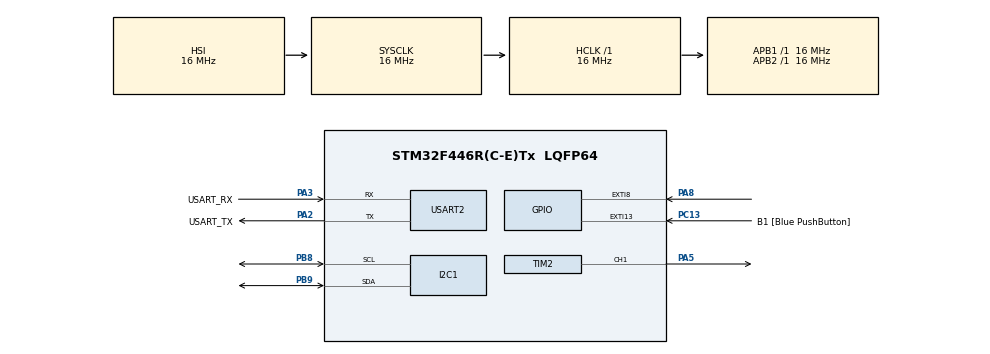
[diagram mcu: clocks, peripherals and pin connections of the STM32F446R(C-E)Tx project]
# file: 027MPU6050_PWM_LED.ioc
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FREERTOS.Tasks01=defaultTask,24,128,StartDefaultTask,Default,NULL,Dynamic,NULL,NULL;SensorReadTask_,24,512,sensor_read_task,Default,NULL,Dynamic,NULL,NULL;PWMControlTask_,40,256,pwm_control_task,Default,NULL,Dynamic,NULL,NULL
FREERTOS.configUSE_NEWLIB_REENTRANT=1
Mcu.Family=STM32F4
Mcu.Name=STM32F446R(C-E)Tx
Mcu.Package=LQFP64
NVIC.EXTI15_10_IRQn=true\:5\:0\:false\:false\:true\:true\:true\:true\:true
NVIC.EXTI9_5_IRQn=true\:0\:0\:false\:false\:true\:false\:true\:true\:true
NVIC.PriorityGroup=NVIC_PRIORITYGROUP_4
NVIC.TIM2_IRQn=true\:5\:0\:false\:false\:true\:true\:true\:true\:true
NVIC.TIM6_DAC_IRQn=true\:15\:0\:false\:false\:true\:false\:false\:true\:true
NVIC.TimeBase=TIM6_DAC_IRQn
NVIC.TimeBaseIP=TIM6
PA13.GPIO_Label=TMS
PA13.Mode=Serial_Wire
PA13.Signal=SYS_JTMS-SWDIO
PA14.GPIO_Label=TCK
PA14.Mode=Serial_Wire
PA14.Signal=SYS_JTCK-SWCLK
PA2.GPIO_Label=USART_TX
PA2.Mode=Asynchronous
PA2.Signal=USART2_TX
PA3.GPIO_Label=USART_RX
PA3.Mode=Asynchronous
PA3.Signal=USART2_RX
PA5.Signal=S_TIM2_CH1_ETR
PA8.Signal=GPXTI8
PB3.GPIO_Label=SWO
PB3.Signal=SYS_JTDO-SWO
PB8.Mode=I2C
PB8.Signal=I2C1_SCL
PB9.Mode=I2C
PB9.Signal=I2C1_SDA
PC13.GPIO_Label=B1 [Blue PushButton]
PC13.GPIO_ModeDefaultEXTI=GPIO_MODE_IT_FALLING
PC13.Signal=GPXTI13
PC14-OSC32_IN.Mode=LSE-External-Oscillator
PC14-OSC32_IN.Signal=RCC_OSC32_IN
PC15-OSC32_OUT.Mode=LSE-External-Oscillator
PC15-OSC32_OUT.Signal=RCC_OSC32_OUT
PH0-OSC_IN.Mode=HSE-External-Oscillator
PH0-OSC_IN.Signal=RCC_OSC_IN
PH1-OSC_OUT.Mode=HSE-External-Oscillator
PH1-OSC_OUT.Signal=RCC_OSC_OUT
ProjectManager.HeapSize=0x200
ProjectManager.StackSize=0x400
ProjectManager.TargetToolchain=STM32CubeIDE
RCC.48MHZClocksFreq_Value=84000000
RCC.AHBFreq_Value=16000000
RCC.APB1Freq_Value=16000000
RCC.APB1TimFreq_Value=16000000
RCC.APB2Freq_Value=16000000
RCC.APB2TimFreq_Value=16000000
RCC.CortexFreq_Value=16000000
RCC.FLatency-AdvancedSettings=FLASH_LATENCY_0
RCC.HCLKFreq_Value=16000000
RCC.HSE_VALUE=8000000
RCC.HSI_VALUE=16000000
RCC.PLLN=336
RCC.PLLP=RCC_PLLP_DIV4
RCC.SYSCLKFreq_VALUE=16000000
RCC.USBFreq_Value=168000000
RCC.VCOOutputFreq_Value=336000000
SH.S_TIM2_CH1_ETR.0=TIM2_CH1,PWM Generation1 CH1
TIM2.Channel-PWM\ Generation1\ CH1=TIM_CHANNEL_1
TIM2.Period=79
TIM2.Prescaler=199
TIM2.Pulse-PWM\ Generation1\ CH1=32
TIM2.TIM_MasterOutputTrigger=TIM_TRGO_UPDATE
USART2.VirtualMode=VM_ASYNC
VP_FREERTOS_VS_CMSIS_V2.Mode=CMSIS_V2
VP_SYS_VS_tim6.Mode=TIM6
VP_TIM2_VS_ClockSourceINT.Mode=Internal
board=NUCLEO-F446RE

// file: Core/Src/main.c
/* USER CODE BEGIN Header */
/**
  ******************************************************************************
  * @file           : main.c
  * @brief          : Main program body
  ******************************************************************************
  * @attention
  *
  * Copyright (c) 2026 STMicroelectronics.
  * All rights reserved.
  *
  * This software is licensed under terms that can be found in the LICENSE file
  * in the root directory of this software component.
  * If no LICENSE file comes with this software, it is provided AS-IS.
  *
  ******************************************************************************
  */
/* USER CODE END Header */
#include "main.h"
#include "cmsis_os.h"

/* USER CODE BEGIN Includes */
#include "mpu6050.h"
#include <math.h>
#include "kalman_filter.h"
#include "main.h"
#include "debug.h"
#include "core_cm4.h"
/* USER CODE END Includes */

I2C_HandleTypeDef hi2c1;

TIM_HandleTypeDef htim2;

UART_HandleTypeDef huart2;

/* Definitions for defaultTask */
osThreadId_t defaultTaskHandle;
const osThreadAttr_t defaultTask_attributes = {
  .name = "defaultTask",
  .stack_size = 128 * 4,
  .priority = (osPriority_t) osPriorityNormal,
};
/* Definitions for SensorReadTask_ */
osThreadId_t SensorReadTask_Handle;
const osThreadAttr_t SensorReadTask__attributes = {
  .name = "SensorReadTask_",
  .stack_size = 512 * 4,
  .priority = (osPriority_t) osPriorityNormal,
};
/* Definitions for PWMControlTask_ */
osThreadId_t PWMControlTask_Handle;
const osThreadAttr_t PWMControlTask__attributes = {
  .name = "PWMControlTask_",
  .stack_size = 256 * 4,
  .priority = (osPriority_t) osPriorityHigh,
};
/* USER CODE BEGIN PV */
uint32_t g_counter = 0;
volatile uint32_t g_channel_2_state = 8000;
volatile uint32_t g_channel_3_state = 4000;

mpu6050_accel_data_t g_accel_data;
const mpu6050_accel_data_t error_offset =  {
		.x = 896,
		.y = -140,
		.z = 156
};

float roll_angle;
int16_t kalman_roll_angle;
int16_t roll_angle_filtered;

osMessageQueueId_t angle_queue;     // filtered |roll| from sensor task -> pwm task
osSemaphoreId_t    mpu_int_sem;     // released by PA8 EXTI (MPU6050 data ready)
/* USER CODE END PV */

void SystemClock_Config(void);
static void MX_GPIO_Init(void);
static void MX_USART2_UART_Init(void);
static void MX_I2C1_Init(void);
static void MX_TIM2_Init(void);
void StartDefaultTask(void *argument);
void sensor_read_task(void *argument);
void pwm_control_task(void *argument);

/* USER CODE BEGIN 0 */
#define PWM_PULSE_MIN 0
#define PWM_PULSE_MAX  79

#define ANGLE_POS_MIN 0
#define ANGLE_POS_MAX 90

void change_pwm_duty_cycle(uint32_t pwm_pulse, uint32_t timer_channel) {
    __HAL_TIM_SET_COMPARE(&htim2, timer_channel, pwm_pulse);
}

// Map function: re-maps a number from one range to another
long map(long x, long in_min, long in_max, long out_min, long out_max) {
    // Perform  mapping
    long result = (x - in_min) * (out_max - out_min) / (in_max - in_min) + out_min;

    // Clamp the result to the output range
    if (result > out_max) {
        result = out_max;
    } else if (result < out_min) {
        result = out_min;
    }

    return result;
}

void init_cycle_counter(void) {
    // Enable DWT (Data Watchpoint and Trace)
    CoreDebug->DEMCR |= CoreDebug_DEMCR_TRCENA_Msk;
    // Reset cycle counter
    DWT->CYCCNT = 0;
    // Enable cycle counter
    DWT->CTRL |= DWT_CTRL_CYCCNTENA_Msk;
}

// Function to get the current cycle count
uint32_t get_cycle_count(void) {
    return DWT->CYCCNT;
}
/* USER CODE END 0 */

int main(void)
{

  /* MCU Configuration--------------------------------------------------------*/

  /* Reset of all peripherals, Initializes the Flash interface and the Systick. */
  HAL_Init();

  /* Configure the system clock */
  SystemClock_Config();

  /* Initialize all configured peripherals */
  MX_GPIO_Init();
  MX_USART2_UART_Init();
  MX_I2C1_Init();
  MX_TIM2_Init();
  /* USER CODE BEGIN 2 */

  init_cycle_counter();

  if (mpu6050_init(&hi2c1, MPU6050_I2C_ADDR) != MPU6050_OK) {
      Error_Handler();
  }

  if (mpu6050_configure_low_pass_filter(&hi2c1, DLPF_CFG_21HZ) != MPU6050_OK) {
      Error_Handler();
  }

  if (HAL_TIM_PWM_Start(&htim2, TIM_CHANNEL_1) != HAL_OK) {
      Error_Handler();
  }
  change_pwm_duty_cycle(0, TIM_CHANNEL_1);   // start dark
  /* USER CODE END 2 */

  /* Init scheduler */
  osKernelInitialize();

  /* USER CODE BEGIN RTOS_SEMAPHORES */
  mpu_int_sem = osSemaphoreNew(1, 0, NULL);
  if (mpu_int_sem == NULL) Error_Handler();
  /* USER CODE END RTOS_SEMAPHORES */

  /* USER CODE BEGIN RTOS_QUEUES */
  angle_queue = osMessageQueueNew(4, sizeof(int16_t), NULL);
  if (angle_queue == NULL) Error_Handler();
  /* USER CODE END RTOS_QUEUES */

  /* Create the thread(s) */
  /* creation of defaultTask */
  defaultTaskHandle = osThreadNew(StartDefaultTask, NULL, &defaultTask_attributes);

  /* creation of SensorReadTask_ */
  SensorReadTask_Handle = osThreadNew(sensor_read_task, NULL, &SensorReadTask__attributes);

  /* creation of PWMControlTask_ */
  PWMControlTask_Handle = osThreadNew(pwm_control_task, NULL, &PWMControlTask__attributes);

  /* Start scheduler */
  osKernelStart();

  /* We should never get here as control is now taken by the scheduler */

  /* Infinite loop */
  while (1)
  {

    /* USER CODE BEGIN 3 */
	 	  #if 0
	  	  DEBUG_DT(dt * 10000);
	  	  roll_angle_filtered = (int16_t)kalman_filter_get_angle(&kf, roll_angle, dt);

	  	  DEBUG_ROLL_ANGLE(roll_angle);
	  	  DEBUG_ROLL_ANGLE_FILT(roll_angle_filtered);

	  	  uint8_t channel = (roll_angle_filtered < 0) ? TIM_CHANNEL_2 : TIM_CHANNEL_3;

	  	  roll_angle_filtered = (roll_angle_filtered < 0) ? -roll_angle_filtered : roll_angle_filtered;

	  	  uint32_t pwm_pulse = map(roll_angle_filtered, ANGLE_POS_MIN, ANGLE_POS_MAX, \
	  			  PWM_PULSE_MIN, PWM_PULSE_MAX);

	  #endif

	    }
  /* USER CODE END 3 */
}

void SystemClock_Config(void)
{
  RCC_OscInitTypeDef RCC_OscInitStruct = {0};
  RCC_ClkInitTypeDef RCC_ClkInitStruct = {0};

  /** Configure the main internal regulator output voltage
  */
  __HAL_RCC_PWR_CLK_ENABLE();
  __HAL_PWR_VOLTAGESCALING_CONFIG(PWR_REGULATOR_VOLTAGE_SCALE3);

  /** Initializes the RCC Oscillators according to the specified parameters
  * in the RCC_OscInitTypeDef structure.
  */
  RCC_OscInitStruct.OscillatorType = RCC_OSCILLATORTYPE_HSI;
  RCC_OscInitStruct.HSIState = RCC_HSI_ON;
  RCC_OscInitStruct.HSICalibrationValue = RCC_HSICALIBRATION_DEFAULT;
  RCC_OscInitStruct.PLL.PLLState = RCC_PLL_NONE;
  if (HAL_RCC_OscConfig(&RCC_OscInitStruct) != HAL_OK)
  {
    Error_Handler();
  }

  /** Initializes the CPU, AHB and APB buses clocks
  */
  RCC_ClkInitStruct.ClockType = RCC_CLOCKTYPE_HCLK|RCC_CLOCKTYPE_SYSCLK
                              |RCC_CLOCKTYPE_PCLK1|RCC_CLOCKTYPE_PCLK2;
  RCC_ClkInitStruct.SYSCLKSource = RCC_SYSCLKSOURCE_HSI;
  RCC_ClkInitStruct.AHBCLKDivider = RCC_SYSCLK_DIV1;
  RCC_ClkInitStruct.APB1CLKDivider = RCC_HCLK_DIV1;
  RCC_ClkInitStruct.APB2CLKDivider = RCC_HCLK_DIV1;

  if (HAL_RCC_ClockConfig(&RCC_ClkInitStruct, FLASH_LATENCY_0) != HAL_OK)
  {
    Error_Handler();
  }
}

static void MX_I2C1_Init(void)
{

  hi2c1.Instance = I2C1;
  hi2c1.Init.ClockSpeed = 100000;
  hi2c1.Init.DutyCycle = I2C_DUTYCYCLE_2;
  hi2c1.Init.OwnAddress1 = 0;
  hi2c1.Init.AddressingMode = I2C_ADDRESSINGMODE_7BIT;
  hi2c1.Init.DualAddressMode = I2C_DUALADDRESS_DISABLE;
  hi2c1.Init.OwnAddress2 = 0;
  hi2c1.Init.GeneralCallMode = I2C_GENERALCALL_DISABLE;
  hi2c1.Init.NoStretchMode = I2C_NOSTRETCH_DISABLE;
  if (HAL_I2C_Init(&hi2c1) != HAL_OK)
  {
    Error_Handler();
  }

}

static void MX_TIM2_Init(void)
{

  TIM_ClockConfigTypeDef sClockSourceConfig = {0};
  TIM_MasterConfigTypeDef sMasterConfig = {0};
  TIM_OC_InitTypeDef sConfigOC = {0};

  htim2.Instance = TIM2;
  htim2.Init.Prescaler = 199;
  htim2.Init.CounterMode = TIM_COUNTERMODE_UP;
  htim2.Init.Period = 79;
  htim2.Init.ClockDivision = TIM_CLOCKDIVISION_DIV1;
  htim2.Init.AutoReloadPreload = TIM_AUTORELOAD_PRELOAD_DISABLE;
  if (HAL_TIM_Base_Init(&htim2) != HAL_OK)
  {
    Error_Handler();
  }
  sClockSourceConfig.ClockSource = TIM_CLOCKSOURCE_INTERNAL;
  if (HAL_TIM_ConfigClockSource(&htim2, &sClockSourceConfig) != HAL_OK)
  {
    Error_Handler();
  }
  if (HAL_TIM_PWM_Init(&htim2) != HAL_OK)
  {
    Error_Handler();
  }
  sMasterConfig.MasterOutputTrigger = TIM_TRGO_UPDATE;
  sMasterConfig.MasterSlaveMode = TIM_MASTERSLAVEMODE_DISABLE;
  if (HAL_TIMEx_MasterConfigSynchronization(&htim2, &sMasterConfig) != HAL_OK)
  {
    Error_Handler();
  }
  sConfigOC.OCMode = TIM_OCMODE_PWM1;
  sConfigOC.Pulse = 32;
  sConfigOC.OCPolarity = TIM_OCPOLARITY_HIGH;
  sConfigOC.OCFastMode = TIM_OCFAST_DISABLE;
  if (HAL_TIM_PWM_ConfigChannel(&htim2, &sConfigOC, TIM_CHANNEL_1) != HAL_OK)
  {
    Error_Handler();
  }
  HAL_TIM_MspPostInit(&htim2);

}

static void MX_USART2_UART_Init(void)
{

  huart2.Instance = USART2;
  huart2.Init.BaudRate = 115200;
  huart2.Init.WordLength = UART_WORDLENGTH_8B;
  huart2.Init.StopBits = UART_STOPBITS_1;
  huart2.Init.Parity = UART_PARITY_NONE;
  huart2.Init.Mode = UART_MODE_TX_RX;
  huart2.Init.HwFlowCtl = UART_HWCONTROL_NONE;
  huart2.Init.OverSampling = UART_OVERSAMPLING_16;
  if (HAL_UART_Init(&huart2) != HAL_OK)
  {
    Error_Handler();
  }

}

static void MX_GPIO_Init(void)
{
  GPIO_InitTypeDef GPIO_InitStruct = {0};

  /* GPIO Ports Clock Enable */
  __HAL_RCC_GPIOC_CLK_ENABLE();
  __HAL_RCC_GPIOH_CLK_ENABLE();
  __HAL_RCC_GPIOA_CLK_ENABLE();
  __HAL_RCC_GPIOB_CLK_ENABLE();

  /*Configure GPIO pin : B1_Pin */
  GPIO_InitStruct.Pin = B1_Pin;
  GPIO_InitStruct.Mode = GPIO_MODE_IT_FALLING;
  GPIO_InitStruct.Pull = GPIO_NOPULL;
  HAL_GPIO_Init(B1_GPIO_Port, &GPIO_InitStruct);

  /*Configure GPIO pin : PA8 */
  GPIO_InitStruct.Pin = GPIO_PIN_8;
  GPIO_InitStruct.Mode = GPIO_MODE_IT_RISING;
  GPIO_InitStruct.Pull = GPIO_NOPULL;
  HAL_GPIO_Init(GPIOA, &GPIO_InitStruct);

  /* EXTI interrupt init*/
  HAL_NVIC_SetPriority(EXTI9_5_IRQn, 0, 0);
  HAL_NVIC_EnableIRQ(EXTI9_5_IRQn);

  HAL_NVIC_SetPriority(EXTI15_10_IRQn, 5, 0);
  HAL_NVIC_EnableIRQ(EXTI15_10_IRQn);

}

/* USER CODE BEGIN 4 */
void HAL_GPIO_EXTI_Callback(uint16_t GPIO_Pin)
{
    if (GPIO_Pin == GPIO_PIN_8 && mpu_int_sem != NULL)
    {
        osSemaphoreRelease(mpu_int_sem);
    }
}
/* USER CODE END 4 */

void StartDefaultTask(void *argument)
{
  for(;;)
  {
    osDelay(1);
  }
}

void sensor_read_task(void *argument)
{
  /* USER CODE BEGIN sensor_read_task */
    KalmanFilter kf;
    kalman_filter_init(&kf);

    uint32_t previous_tick = osKernelGetTickCount();

    for (;;)
    {
      // Wait for MPU6050 INT on PA8; 20 ms timeout so we still run
      // even if the sensor's interrupt output isn't enabled yet
      osSemaphoreAcquire(mpu_int_sem, 20);

      uint32_t current_tick = osKernelGetTickCount();
      float dt = (current_tick - previous_tick) / 1000.0f;
      previous_tick = current_tick;
      if (dt <= 0.0f) dt = 0.001f;

      if (mpu6050_read_accelerometer_data(&hi2c1, MPU6050_I2C_ADDR, &g_accel_data) != MPU6050_OK) {
          continue;   // skip this sample rather than locking up the board
      }

      g_accel_data = mpu6050_accelerometer_calibration(&error_offset, &g_accel_data);

      roll_angle = atan2f((float)g_accel_data.y, (float)g_accel_data.z) * (180.0f / (float)M_PI);

      int16_t angle = (int16_t)kalman_filter_get_angle(&kf, roll_angle, dt);
      if (angle < 0) angle = -angle;          // one LED: brightness = |tilt|

      DEBUG_DT(dt);
      DEBUG_ROLL_ANGLE(roll_angle);
      DEBUG_ROLL_ANGLE_FILT(angle);
      osMessageQueuePut(angle_queue, &angle, 0, 0);   // don't block if full
    }

  /* USER CODE END sensor_read_task */
}

void pwm_control_task(void *argument)
{
  /* USER CODE BEGIN pwm_control_task */
	  int16_t angle;

	  for (;;)
	  {
	    if (osMessageQueueGet(angle_queue, &angle, NULL, osWaitForever) == osOK)
	    {
	      uint32_t pwm_pulse = map(angle, ANGLE_POS_MIN, ANGLE_POS_MAX,
	                               PWM_PULSE_MIN, PWM_PULSE_MAX);
	      change_pwm_duty_cycle(pwm_pulse, TIM_CHANNEL_1);
	    }
	  }
  /* USER CODE END pwm_control_task */
}

void HAL_TIM_PeriodElapsedCallback(TIM_HandleTypeDef *htim)
{
  if (htim->Instance == TIM6)
  {
    HAL_IncTick();
  }
}

void Error_Handler(void)
{
  __disable_irq();
  while (1)
  {
  }
}
